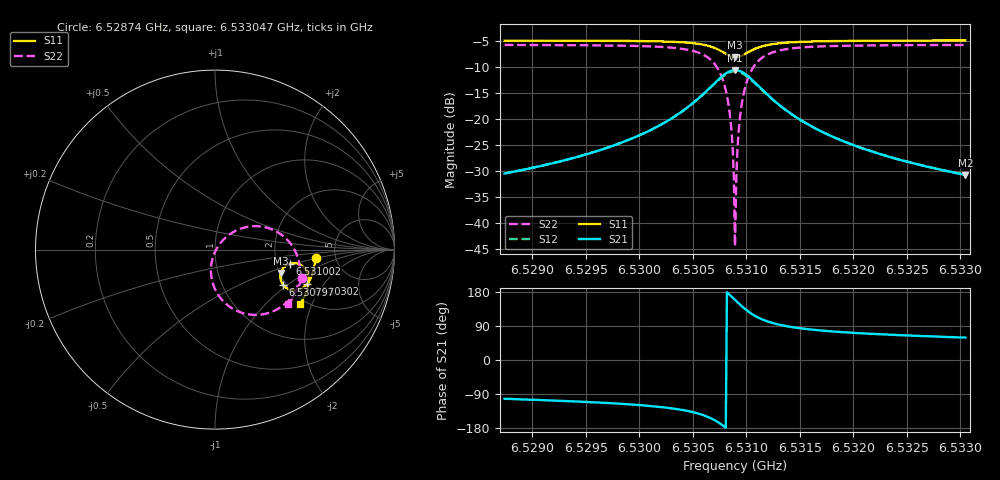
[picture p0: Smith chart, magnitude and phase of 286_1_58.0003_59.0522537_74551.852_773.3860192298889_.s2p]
#  HZ  S  RI  R  50.00
! Rohde & Schwarz Vector Network Analyzer
! Rohde-Schwarz,ZNB20-2Port,1311601062101988,3.16
! Created: UTC 3/21/2024, 1:03:05 AM
! freq[Hz]  re:S11  im:S11  re:S21  im:S21  re:S12  im:S12  re:S22  im:S22
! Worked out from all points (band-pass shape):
!   401 points, 6.52874 GHz to 6.533047 GHz, reference 50 ohm
!   highest |S21| = -10.67 dB at 6.530894 GHz (marker M1); lowest = -30.8 dB at 6.533047 GHz (marker M2)
!   |S21| within 3 dB of the highest: 6.530679 GHz to 6.53111 GHz (431 kHz wide, 0.0066 % of centre)
!   lowest |S11| = -8.2 dB at 6.530894 GHz (marker M3), VSWR 2.28, Z = 102 - j31.1 ohm
!   |S11| at or under -10 dB: nowhere
!   |S22| runs from -44.5 to -5.8 dB; largest |S21 - S12| = 0.011
!   S11 on the Smith chart (normalised r, x): 6.52874 GHz: 3.50, -0.46; 6.530302 GHz: 2.57, -1.39; 6.530797 GHz: 1.93, -0.93; 6.531002 GHz: 2.38, -0.45; 6.533047 GHz: 1.86, -1.65
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6.5287403e9  0.5602 -0.0452  -0.00641 -0.029  -0.00703 -0.029  0.4863 -0.157
6.5294618e9  0.5511 -0.1048  -0.0152 -0.0415  -0.0162 -0.0412  0.4566 -0.2219
6.5301832e9  0.5244 -0.1752  -0.0474 -0.0712  -0.0492 -0.07  0.3788 -0.3119
6.5303016e9  0.5144 -0.1894  -0.0613 -0.0798  -0.0636 -0.0779  0.3492 -0.3311
6.5306462e9  0.4452 -0.2271  -0.168 -0.0937  -0.1697 -0.0869  0.1502 -0.3524
6.5307323e9  0.4082 -0.2197  -0.2244 -0.0666  -0.2233 -0.0576  0.0564 -0.2978
6.5307969e9  0.3792 -0.1962  -0.2664 -0.0162  -0.2611 -0.00705  -0.0058 -0.2065
6.53084e9  0.3666 -0.1696  -0.2818 0.0339  -0.2737 0.0417  -0.0227 -0.1206
6.5308616e9  0.3643 -0.1541  -0.2827 0.0627  -0.2734 0.0691  -0.019 -0.0735
6.5308723e9  0.3643 -0.1461  -0.2809 0.0772  -0.2713 0.0829  -0.0136 -0.0498
6.5308831e9  0.3652 -0.1379  -0.2779 0.0919  -0.2677 0.0964  -0.0059 -0.0268
6.5308939e9  0.3671 -0.13  -0.273 0.106  -0.2628 0.1099  0.00412 -0.00431
6.5309046e9  0.3697 -0.1222  -0.2671 0.1198  -0.2569 0.1226  0.0164 0.017
6.5309154e9  0.3732 -0.115  -0.2596 0.1327  -0.2495 0.1347  0.0306 0.0369
6.5309262e9  0.3774 -0.108  -0.2512 0.1448  -0.2413 0.1458  0.0465 0.055
6.5309477e9  0.3878 -0.0961  -0.2315 0.1658  -0.2222 0.1652  0.0825 0.0857
6.5310015e9  0.4193 -0.0781  -0.174 0.197  -0.1674 0.1943  0.1823 0.127
6.5310769e9  0.4605 -0.0781  -0.1018 0.1994  -0.0983 0.1967  0.3031 0.1177
6.5311846e9  0.4964 -0.0997  -0.0396 0.1704  -0.038 0.1687  0.4034 0.0538
6.5316153e9  0.5217 -0.1783  0.0145 0.0826  0.0155 0.0822  0.4727 -0.1308
6.5323367e9  0.5026 -0.2505  0.0168 0.0396  0.0177 0.0393  0.4443 -0.2449
6.5330474e9  0.4755 -0.3033  0.0147 0.0247  0.0152 0.0246  0.4094 -0.3053
